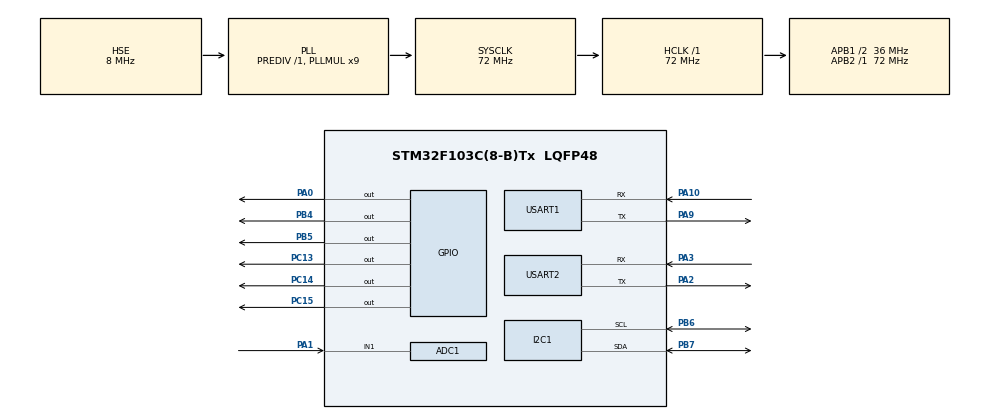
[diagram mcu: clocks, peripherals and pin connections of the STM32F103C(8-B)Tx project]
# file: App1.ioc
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ADC1.Channel-1\#ChannelRegularConversion=ADC_CHANNEL_1
ADC1.ContinuousConvMode=ENABLE
ADC1.NbrOfConversionFlag=1
ADC1.Rank-1\#ChannelRegularConversion=1
ADC1.SamplingTime-1\#ChannelRegularConversion=ADC_SAMPLETIME_239CYCLES_5
ADC1.master=1
FREERTOS.Tasks01=defaultTask,0,128,StartDefaultTask,Default,NULL,Dynamic,NULL,NULL
Mcu.Family=STM32F1
Mcu.Name=STM32F103C(8-B)Tx
Mcu.Package=LQFP48
NVIC.I2C1_EV_IRQn=true\:5\:0\:false\:false\:true\:true\:true\:true\:true
NVIC.PriorityGroup=NVIC_PRIORITYGROUP_4
NVIC.TIM4_IRQn=true\:15\:0\:false\:false\:true\:false\:false\:true\:true
NVIC.TimeBase=TIM4_IRQn
NVIC.TimeBaseIP=TIM4
NVIC.USART1_IRQn=true\:5\:0\:true\:false\:true\:true\:true\:true\:true
NVIC.USART2_IRQn=true\:5\:0\:true\:false\:true\:true\:true\:true\:true
PA0-WKUP.PinState=GPIO_PIN_SET
PA0-WKUP.Signal=GPIO_Output
PA1.Signal=ADCx_IN1
PA10.Mode=Asynchronous
PA10.Signal=USART1_RX
PA13.Mode=Serial_Wire
PA13.Signal=SYS_JTMS-SWDIO
PA14.Mode=Serial_Wire
PA14.Signal=SYS_JTCK-SWCLK
PA2.Mode=Asynchronous
PA2.Signal=USART2_TX
PA3.Mode=Asynchronous
PA3.Signal=USART2_RX
PA9.Mode=Asynchronous
PA9.Signal=USART1_TX
PB4.Signal=GPIO_Output
PB5.Signal=GPIO_Output
PB6.Mode=I2C
PB6.Signal=I2C1_SCL
PB7.Mode=I2C
PB7.Signal=I2C1_SDA
PC13-TAMPER-RTC.Signal=GPIO_Output
PC14-OSC32_IN.PinState=GPIO_PIN_SET
PC14-OSC32_IN.Signal=GPIO_Output
PC15-OSC32_OUT.PinState=GPIO_PIN_SET
PC15-OSC32_OUT.Signal=GPIO_Output
PD0-OSC_IN.Mode=HSE-External-Oscillator
PD0-OSC_IN.Signal=RCC_OSC_IN
PD1-OSC_OUT.Mode=HSE-External-Oscillator
PD1-OSC_OUT.Signal=RCC_OSC_OUT
ProjectManager.HeapSize=0x200
ProjectManager.StackSize=0x400
ProjectManager.TargetToolchain=MDK-ARM V5.32
RCC.ADCPresc=RCC_ADCPCLK2_DIV6
RCC.AHBFreq_Value=72000000
RCC.APB1CLKDivider=RCC_HCLK_DIV2
RCC.APB1Freq_Value=36000000
RCC.APB1TimFreq_Value=72000000
RCC.APB2Freq_Value=72000000
RCC.APB2TimFreq_Value=72000000
RCC.HCLKFreq_Value=72000000
RCC.PLLMUL=RCC_PLL_MUL9
RCC.PLLSourceVirtual=RCC_PLLSOURCE_HSE
RCC.SYSCLKFreq_VALUE=72000000
RCC.SYSCLKSource=RCC_SYSCLKSOURCE_PLLCLK
RCC.USBFreq_Value=72000000
RTC.Date=13
RTC.Month=RTC_MONTH_NOVEMBER
RTC.Year=23
SH.ADCx_IN1.0=ADC1_IN1,IN1
USART1.VirtualMode=VM_ASYNC
USART2.VirtualMode=VM_ASYNC
VP_FREERTOS_VS_CMSIS_V1.Mode=CMSIS_V1
VP_RTC_VS_RTC_Activate.Mode=RTC_Enabled
VP_RTC_VS_RTC_Calendar.Mode=RTC_Calendar
VP_SYS_VS_tim4.Mode=TIM4
board=custom

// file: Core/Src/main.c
/* USER CODE BEGIN Header */
/*
	Firmware for Wireless Sensor Network version 1.0
	Author: Duc Manh Phan 20202452
	IoT Power Actuator Control Labs
*/
/**
  ******************************************************************************
  * @file           : main.c
  * @brief          : Main program body
  ******************************************************************************
  * @attention
  *
  * Copyright (c) 2023 STMicroelectronics.
  * All rights reserved.
  *
  * This software is licensed under terms that can be found in the LICENSE file
  * in the root directory of this software component.
  * If no LICENSE file comes with this software, it is provided AS-IS.
  *
  ******************************************************************************
  */
/* USER CODE END Header */
#include "main.h"
#include "cmsis_os.h"

/* USER CODE BEGIN Includes */
#include "lm35.h"
#include "response_ci.h"
#include "uart.h"
#include "convert_timestamp.h"
#include "sender.h"
#include "sht2x.h"

// Configure time
uint8_t SECOND = 00;
uint8_t MINUTE = 00;
uint8_t HOUR = 20;
uint8_t WEEKDAY = RTC_WEEKDAY_MONDAY;
uint8_t MONTH = RTC_MONTH_NOVEMBER;
uint8_t YEAR = 0x23;
uint8_t DATE = 0X13;
uint8_t flag_update_time = 0;
// Define time to send data package to ESP32
#define TIME_SENDING 5000

/* USER CODE END Includes */

ADC_HandleTypeDef hadc1;

I2C_HandleTypeDef hi2c1;

RTC_HandleTypeDef hrtc;

UART_HandleTypeDef huart1;
UART_HandleTypeDef huart2;

osThreadId defaultTaskHandle;
/* USER CODE BEGIN PV */

// Warning temperature
uint8_t temp_threshold = 10;

//Node id
uint8_t node_id = 1;

// Datetime
RTC_TimeTypeDef sTime;
RTC_DateTypeDef sDate;
uint32_t real_time;
// Temperature
uint8_t temp_from_LM35;

//Position of sensor node
uint8_t x_axis = 50;
uint8_t y_axis = 50;

//Room id
uint8_t room_id = 1;

// Task
//TaskHandle_t defaultTaskHandle;
TaskHandle_t TaskHanlde_Sensing;
TaskHandle_t TaskHanlde_CLI;
TaskHandle_t TaskHanlde_UpdateFirmware_OTA;

/* USER CODE END PV */

void SystemClock_Config(void);
static void MX_GPIO_Init(void);
static void MX_USART1_UART_Init(void);
static void MX_USART2_UART_Init(void);
static void MX_ADC1_Init(void);
static void MX_RTC_Init(void);
static void MX_I2C1_Init(void);
void StartDefaultTask(void const * argument);

/* USER CODE BEGIN PFP */
static uint8_t dataRX;
void HAL_UART_RxCpltCallback(UART_HandleTypeDef *huart)
{
	if (huart->Instance == huart2.Instance)
	{

		recv_data(dataRX);
		HAL_UART_Receive_IT(&huart2, &dataRX,1);
	}
}

void MX_RTC_Setup(void)
{

  /* USER CODE BEGIN RTC_Init 0 */

  /* USER CODE END RTC_Init 0 */

  RTC_TimeTypeDef sTime = {0};
  RTC_DateTypeDef DateToUpdate = {0};

  /* USER CODE BEGIN RTC_Init 1 */

  /* USER CODE END RTC_Init 1 */

  /** Initialize RTC Only
  */
  hrtc.Instance = RTC;
  hrtc.Init.AsynchPrediv = RTC_AUTO_1_SECOND;
  hrtc.Init.OutPut = RTC_OUTPUTSOURCE_ALARM;
  if (HAL_RTC_Init(&hrtc) != HAL_OK)
  {
    Error_Handler();
  }

  /* USER CODE BEGIN Check_RTC_BKUP */

  /* USER CODE END Check_RTC_BKUP */

  /** Initialize RTC and set the Time and Date
  */
  sTime.Hours = HOUR;
  sTime.Minutes = MINUTE;
  sTime.Seconds = SECOND;

  if (HAL_RTC_SetTime(&hrtc, &sTime, RTC_FORMAT_BCD) != HAL_OK)
  {
    Error_Handler();
  }
  DateToUpdate.WeekDay = WEEKDAY;
  DateToUpdate.Month = MONTH;
  DateToUpdate.Date = DATE;
  DateToUpdate.Year = YEAR;

  if (HAL_RTC_SetDate(&hrtc, &DateToUpdate, RTC_FORMAT_BCD) != HAL_OK)
  {
    Error_Handler();
  }
  /* USER CODE BEGIN RTC_Init 2 */

  /* USER CODE END RTC_Init 2 */

}
/* USER CODE END PFP */

/* USER CODE BEGIN 0 */
#define ADDR_APP_PROGRAM 0X8004000
/* USER CODE END 0 */

int main(void)
{
  /* USER CODE BEGIN 1 */
	SCB->VTOR = (uint32_t)ADDR_APP_PROGRAM;
  /* USER CODE END 1 */

  /* MCU Configuration--------------------------------------------------------*/

  /* Reset of all peripherals, Initializes the Flash interface and the Systick. */
  HAL_Init();

  /* Configure the system clock */
  SystemClock_Config();

  /* Initialize all configured peripherals */
  MX_GPIO_Init();
  MX_USART1_UART_Init();
  MX_USART2_UART_Init();
  MX_ADC1_Init();
  MX_RTC_Init();
  MX_I2C1_Init();
  /* USER CODE BEGIN 2 */
	HAL_UART_Receive_IT(&huart2, &dataRX,1);
	response_init(&huart2);
	HAL_GPIO_WritePin(GPIOC, GPIO_PIN_13, GPIO_PIN_RESET);
	HAL_GPIO_WritePin(GPIOB, GPIO_PIN_4, GPIO_PIN_SET);
	HAL_GPIO_WritePin(GPIOB, GPIO_PIN_5, GPIO_PIN_RESET);
	SHT2x_Init(&hi2c1);
	SHT2x_SetResolution(RES_14_12);
//	HAL_I2C_Mem_Write_IT(&hi2c1, DS3231_ADDRESS, 0X00, I2C_MEMADD_SIZE_8BIT, u8_tranBuffer, 7);
  /* USER CODE END 2 */

  /* Create the thread(s) */
  /* definition and creation of defaultTask */
  osThreadDef(defaultTask, StartDefaultTask, osPriorityNormal, 0, 128);
  defaultTaskHandle = osThreadCreate(osThread(defaultTask), NULL);

  /* USER CODE BEGIN RTOS_THREADS */
  /* add threads, ... */
	void SensingTask(void const * argument);
	xTaskCreate(
                    (TaskFunction_t )SensingTask,       /* Function that implements the task. */
                    "Task_Sensing_Temperature",          /* Text name for the task. */
                    128,      /* Stack size in words, not bytes. */
                    NULL,    /* Parameter passed into the task. */
                    osPriorityNormal,/* Priority at which the task is created. */
                    &TaskHanlde_Sensing );      /* Used to pass out the created task's handle. */

	void CLI_Task(void const * argument);
	xTaskCreate(
                    (TaskFunction_t )CLI_Task,       /* Function that implements the task. */
                    "Task_Command_Line_Interface",          /* Text name for the task. */
                    128,      /* Stack size in words, not bytes. */
                    NULL,    /* Parameter passed into the task. */
                    osPriorityNormal,/* Priority at which the task is created. */
                    &TaskHanlde_CLI );      /* Used to pass out the created task's handle. */

	void OTA_Task(void const * argument);
	xTaskCreate(
                    (TaskFunction_t )OTA_Task,       /* Function that implements the task. */
                    "Task_Update_Firmware_Over_The_Air",          /* Text name for the task. */
                    256,      /* Stack size in words, not bytes. */
                    NULL,    /* Parameter passed into the task. */
                    osPriorityNormal,/* Priority at which the task is created. */
                    &TaskHanlde_UpdateFirmware_OTA );      /* Used to pass out the created task's handle. */
  /* USER CODE END RTOS_THREADS */

  /* Start scheduler */
  osKernelStart();

  /* We should never get here as control is now taken by the scheduler */
  /* Infinite loop */
  while (1)
  {

  }
}

void SystemClock_Config(void)
{
  RCC_OscInitTypeDef RCC_OscInitStruct = {0};
  RCC_ClkInitTypeDef RCC_ClkInitStruct = {0};
  RCC_PeriphCLKInitTypeDef PeriphClkInit = {0};

  /** Initializes the RCC Oscillators according to the specified parameters
  * in the RCC_OscInitTypeDef structure.
  */
  RCC_OscInitStruct.OscillatorType = RCC_OSCILLATORTYPE_LSI|RCC_OSCILLATORTYPE_HSE;
  RCC_OscInitStruct.HSEState = RCC_HSE_ON;
  RCC_OscInitStruct.HSEPredivValue = RCC_HSE_PREDIV_DIV1;
  RCC_OscInitStruct.HSIState = RCC_HSI_ON;
  RCC_OscInitStruct.LSIState = RCC_LSI_ON;
  RCC_OscInitStruct.PLL.PLLState = RCC_PLL_ON;
  RCC_OscInitStruct.PLL.PLLSource = RCC_PLLSOURCE_HSE;
  RCC_OscInitStruct.PLL.PLLMUL = RCC_PLL_MUL9;
  if (HAL_RCC_OscConfig(&RCC_OscInitStruct) != HAL_OK)
  {
    Error_Handler();
  }

  /** Initializes the CPU, AHB and APB buses clocks
  */
  RCC_ClkInitStruct.ClockType = RCC_CLOCKTYPE_HCLK|RCC_CLOCKTYPE_SYSCLK
                              |RCC_CLOCKTYPE_PCLK1|RCC_CLOCKTYPE_PCLK2;
  RCC_ClkInitStruct.SYSCLKSource = RCC_SYSCLKSOURCE_PLLCLK;
  RCC_ClkInitStruct.AHBCLKDivider = RCC_SYSCLK_DIV1;
  RCC_ClkInitStruct.APB1CLKDivider = RCC_HCLK_DIV2;
  RCC_ClkInitStruct.APB2CLKDivider = RCC_HCLK_DIV1;

  if (HAL_RCC_ClockConfig(&RCC_ClkInitStruct, FLASH_LATENCY_2) != HAL_OK)
  {
    Error_Handler();
  }
  PeriphClkInit.PeriphClockSelection = RCC_PERIPHCLK_RTC|RCC_PERIPHCLK_ADC;
  PeriphClkInit.RTCClockSelection = RCC_RTCCLKSOURCE_LSI;
  PeriphClkInit.AdcClockSelection = RCC_ADCPCLK2_DIV6;
  if (HAL_RCCEx_PeriphCLKConfig(&PeriphClkInit) != HAL_OK)
  {
    Error_Handler();
  }
}

static void MX_ADC1_Init(void)
{

  ADC_ChannelConfTypeDef sConfig = {0};

  /** Common config
  */
  hadc1.Instance = ADC1;
  hadc1.Init.ScanConvMode = ADC_SCAN_DISABLE;
  hadc1.Init.ContinuousConvMode = ENABLE;
  hadc1.Init.DiscontinuousConvMode = DISABLE;
  hadc1.Init.ExternalTrigConv = ADC_SOFTWARE_START;
  hadc1.Init.DataAlign = ADC_DATAALIGN_RIGHT;
  hadc1.Init.NbrOfConversion = 1;
  if (HAL_ADC_Init(&hadc1) != HAL_OK)
  {
    Error_Handler();
  }

  /** Configure Regular Channel
  */
  sConfig.Channel = ADC_CHANNEL_1;
  sConfig.Rank = ADC_REGULAR_RANK_1;
  sConfig.SamplingTime = ADC_SAMPLETIME_239CYCLES_5;
  if (HAL_ADC_ConfigChannel(&hadc1, &sConfig) != HAL_OK)
  {
    Error_Handler();
  }

}

static void MX_I2C1_Init(void)
{

  hi2c1.Instance = I2C1;
  hi2c1.Init.ClockSpeed = 100000;
  hi2c1.Init.DutyCycle = I2C_DUTYCYCLE_2;
  hi2c1.Init.OwnAddress1 = 0;
  hi2c1.Init.AddressingMode = I2C_ADDRESSINGMODE_7BIT;
  hi2c1.Init.DualAddressMode = I2C_DUALADDRESS_DISABLE;
  hi2c1.Init.OwnAddress2 = 0;
  hi2c1.Init.GeneralCallMode = I2C_GENERALCALL_DISABLE;
  hi2c1.Init.NoStretchMode = I2C_NOSTRETCH_DISABLE;
  if (HAL_I2C_Init(&hi2c1) != HAL_OK)
  {
    Error_Handler();
  }

}

static void MX_RTC_Init(void)
{

  RTC_TimeTypeDef sTime = {0};
  RTC_DateTypeDef DateToUpdate = {0};

  /** Initialize RTC Only
  */
  hrtc.Instance = RTC;
  hrtc.Init.AsynchPrediv = RTC_AUTO_1_SECOND;
  hrtc.Init.OutPut = RTC_OUTPUTSOURCE_ALARM;
  if (HAL_RTC_Init(&hrtc) != HAL_OK)
  {
    Error_Handler();
  }

  /** Initialize RTC and set the Time and Date
  */
  sTime.Hours = 0x17;
  sTime.Minutes = 0x48;
  sTime.Seconds = 0x0;

  if (HAL_RTC_SetTime(&hrtc, &sTime, RTC_FORMAT_BCD) != HAL_OK)
  {
    Error_Handler();
  }
  DateToUpdate.WeekDay = RTC_WEEKDAY_SATURDAY;
  DateToUpdate.Month = RTC_MONTH_NOVEMBER;
  DateToUpdate.Date = 0x25;
  DateToUpdate.Year = 0x23;

  if (HAL_RTC_SetDate(&hrtc, &DateToUpdate, RTC_FORMAT_BCD) != HAL_OK)
  {
    Error_Handler();
  }

}

static void MX_USART1_UART_Init(void)
{

  huart1.Instance = USART1;
  huart1.Init.BaudRate = 115200;
  huart1.Init.WordLength = UART_WORDLENGTH_8B;
  huart1.Init.StopBits = UART_STOPBITS_1;
  huart1.Init.Parity = UART_PARITY_NONE;
  huart1.Init.Mode = UART_MODE_TX_RX;
  huart1.Init.HwFlowCtl = UART_HWCONTROL_NONE;
  huart1.Init.OverSampling = UART_OVERSAMPLING_16;
  if (HAL_UART_Init(&huart1) != HAL_OK)
  {
    Error_Handler();
  }

}

static void MX_USART2_UART_Init(void)
{

  huart2.Instance = USART2;
  huart2.Init.BaudRate = 115200;
  huart2.Init.WordLength = UART_WORDLENGTH_8B;
  huart2.Init.StopBits = UART_STOPBITS_1;
  huart2.Init.Parity = UART_PARITY_NONE;
  huart2.Init.Mode = UART_MODE_TX_RX;
  huart2.Init.HwFlowCtl = UART_HWCONTROL_NONE;
  huart2.Init.OverSampling = UART_OVERSAMPLING_16;
  if (HAL_UART_Init(&huart2) != HAL_OK)
  {
    Error_Handler();
  }

}

static void MX_GPIO_Init(void)
{
  GPIO_InitTypeDef GPIO_InitStruct = {0};

  /* GPIO Ports Clock Enable */
  __HAL_RCC_GPIOC_CLK_ENABLE();
  __HAL_RCC_GPIOD_CLK_ENABLE();
  __HAL_RCC_GPIOA_CLK_ENABLE();
  __HAL_RCC_GPIOB_CLK_ENABLE();

  /*Configure GPIO pin Output Level */
  HAL_GPIO_WritePin(GPIOC, GPIO_PIN_13, GPIO_PIN_RESET);

  /*Configure GPIO pin Output Level */
  HAL_GPIO_WritePin(GPIOC, GPIO_PIN_14|GPIO_PIN_15, GPIO_PIN_SET);

  /*Configure GPIO pin Output Level */
  HAL_GPIO_WritePin(GPIOA, GPIO_PIN_0, GPIO_PIN_SET);

  /*Configure GPIO pin Output Level */
  HAL_GPIO_WritePin(GPIOB, GPIO_PIN_4|GPIO_PIN_5, GPIO_PIN_RESET);

  /*Configure GPIO pins : PC13 PC14 PC15 */
  GPIO_InitStruct.Pin = GPIO_PIN_13|GPIO_PIN_14|GPIO_PIN_15;
  GPIO_InitStruct.Mode = GPIO_MODE_OUTPUT_PP;
  GPIO_InitStruct.Pull = GPIO_NOPULL;
  GPIO_InitStruct.Speed = GPIO_SPEED_FREQ_LOW;
  HAL_GPIO_Init(GPIOC, &GPIO_InitStruct);

  /*Configure GPIO pin : PA0 */
  GPIO_InitStruct.Pin = GPIO_PIN_0;
  GPIO_InitStruct.Mode = GPIO_MODE_OUTPUT_PP;
  GPIO_InitStruct.Pull = GPIO_NOPULL;
  GPIO_InitStruct.Speed = GPIO_SPEED_FREQ_LOW;
  HAL_GPIO_Init(GPIOA, &GPIO_InitStruct);

  /*Configure GPIO pins : PB4 PB5 */
  GPIO_InitStruct.Pin = GPIO_PIN_4|GPIO_PIN_5;
  GPIO_InitStruct.Mode = GPIO_MODE_OUTPUT_PP;
  GPIO_InitStruct.Pull = GPIO_NOPULL;
  GPIO_InitStruct.Speed = GPIO_SPEED_FREQ_LOW;
  HAL_GPIO_Init(GPIOB, &GPIO_InitStruct);

}

/* USER CODE BEGIN 4 */
void CLI_Task(void const * argument)
{
  /* USER CODE BEGIN 5 */
	response_print("CLI Task is runinng \n");
  /* Infinite loop */
  for(;;)
  {

		uart_handle();
		vTaskDelay( pdMS_TO_TICKS( 100 ) );
    //osDelay(1);
  }
  /* USER CODE END 5 */
}
void OTA_Task(void const * argument)
{
  /* USER CODE BEGIN 5 */

  /* Infinite loop */
  for(;;)
  {
		vTaskSuspend( NULL );
    //osDelay(1);
  }
  /* USER CODE END 5 */
}

void SensingTask(void const * argument)
{
  /* USER CODE BEGIN 5 */
  /* Infinite loop */
  for(;;)
  {
		//HAL_GPIO_TogglePin(GPIOC, GPIO_PIN_13);
		if (flag_update_time == 1)
		{
			MX_RTC_Setup();
			flag_update_time = 0;
		}
		float cel = SHT2x_GetTemperature(1);
		temp_from_LM35 = SHT2x_GetInteger(cel);
//		HAL_I2C_Mem_Read_IT(&hi2c1, DS3231_ADDRESS, 0X00,I2C_MEMADD_SIZE_8BIT, u8_tranBuffer, 7);
		HAL_RTC_GetTime(&hrtc, &sTime, RTC_FORMAT_BIN);
		HAL_RTC_GetDate(&hrtc, &sDate, RTC_FORMAT_BIN);
		real_time = unix_time_in_seconds(&sTime, &sDate);
		if (temp_from_LM35 < temp_threshold)
		{
			//Turn on blue led

			HAL_GPIO_WritePin(GPIOA, GPIO_PIN_0, GPIO_PIN_SET);
			HAL_GPIO_WritePin(GPIOC, GPIO_PIN_15, GPIO_PIN_SET);
			HAL_GPIO_WritePin(GPIOC, GPIO_PIN_14, GPIO_PIN_RESET);
		}
		else if (temp_from_LM35 >= temp_threshold && temp_from_LM35 <= (temp_threshold + 20))
		{
			//Turn on red led
			HAL_GPIO_WritePin(GPIOA, GPIO_PIN_0, GPIO_PIN_SET);
			HAL_GPIO_WritePin(GPIOC, GPIO_PIN_14, GPIO_PIN_SET);
			HAL_GPIO_WritePin(GPIOC, GPIO_PIN_15, GPIO_PIN_RESET);
		}
		else
		{
			//Turn on green led
			HAL_GPIO_WritePin(GPIOC, GPIO_PIN_14, GPIO_PIN_SET);
			HAL_GPIO_WritePin(GPIOC, GPIO_PIN_15, GPIO_PIN_SET);
			HAL_GPIO_WritePin(GPIOA, GPIO_PIN_0, GPIO_PIN_RESET);
		}
		vTaskDelay(pdMS_TO_TICKS(50));
		//response_print("Temperature from sensor: %d, Warning temperature: %d, Unix Timestamp: %d\n", temp_from_LM35,temp_threshold, real_time);
		//response_print("Datetime: %d:%d:%d %d/%d/%d \n", sTime.Hours, sTime.Minutes, sTime.Seconds, sDate.Date, sDate.Month, sDate.Year);
		send_data(node_id, real_time, temp_from_LM35, x_axis, y_axis, room_id);

		vTaskDelay( pdMS_TO_TICKS( TIME_SENDING ) );
    //osDelay(1);
  }
  /* USER CODE END 5 */
}
/* USER CODE END 4 */

void StartDefaultTask(void const * argument)
{
  /* USER CODE BEGIN 5 */
	response_print("CLI Task is runinng \n");
  /* Infinite loop */
  for(;;)
  {

		uart_handle();
		vTaskDelay( pdMS_TO_TICKS( 100 ) );
    //osDelay(1);
  }
  /* USER CODE END 5 */
}

void HAL_TIM_PeriodElapsedCallback(TIM_HandleTypeDef *htim)
{
  if (htim->Instance == TIM4) {
    HAL_IncTick();
  }
}

void Error_Handler(void)
{
  __disable_irq();
  while (1)
  {
  }
}
